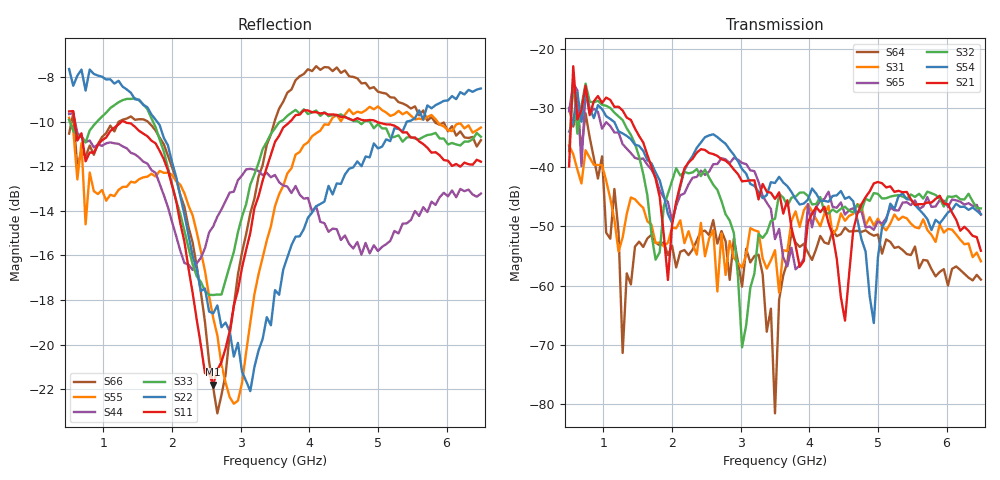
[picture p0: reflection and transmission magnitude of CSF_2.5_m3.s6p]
!Keysight Technologies,M9804A,MY58100912,A.14.10.03
!Date: Thursday, April 27, 2023 10:28:33
!Correction: S11(C  6-Port  )
!S12(C  6-Port  )
!S13(C  6-Port  )
!S14(C  6-Port  )
!S15(C  6-Port  )
!S16(C  6-Port  )
!S21(C  6-Port  )
!S22(C  6-Port  )
!S23(C  6-Port  )
!S24(C  6-Port  )
!S25(C  6-Port  )
!S26(C  6-Port  )
!S31(C  6-Port  )
!S32(C  6-Port  )
!S33(C  6-Port  )
!S34(C  6-Port  )
!S35(C  6-Port  )
!S36(C  6-Port  )
!S41(C  6-Port  )
!S42(C  6-Port  )
!S43(C  6-Port  )
!S44(C  6-Port  )
!S45(C  6-Port  )
!S46(C  6-Port  )
!S51(C  6-Port  )
!S52(C  6-Port  )
!S53(C  6-Port  )
!S54(C  6-Port  )
!S55(C  6-Port  )
!S56(C  6-Port  )
!S61(C  6-Port  )
!S62(C  6-Port  )
!S63(C  6-Port  )
!S64(C  6-Port  )
!S65(C  6-Port  )
!S66(C  6-Port  )
!S6P File: Measurement: :
# Hz S  RI  R 50
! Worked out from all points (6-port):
!   101 points, 500 MHz to 6.5 GHz, reference 50 ohm
!   strongest paths, dB at 500 MHz, 2 GHz, 3.5 GHz, 5 GHz, 6.5 GHz:
!     S21: -39.9, -49.7, -45.4, -42.5, -54.1
!     S54: -34.0, -49.4, -42.7, -55.2, -47.9
!     S32: -37.3, -42.3, -48.7, -44.5, -47.0
!     S65: -30.6, -49.1, -52.1, -49.1, -48.0
!     S31: -36.3, -50.2, -54.0, -48.7, -55.9
!     S64: -30.0, -53.2, -81.5, -51.3, -59.0
!   lowest |S11| = -21.8 dB at 2.6 GHz (marker M1), VSWR 1.18, Z = 42.7 + j1.95 ohm
!   |S11| at or under -10 dB: 581.3 MHz to 1.267 GHz (685.8 MHz wide, 74.2 % of centre); 1.302 GHz to 3.72 GHz (2.418 GHz wide, 96.3 % of centre); 4.976 GHz to end of sweep
